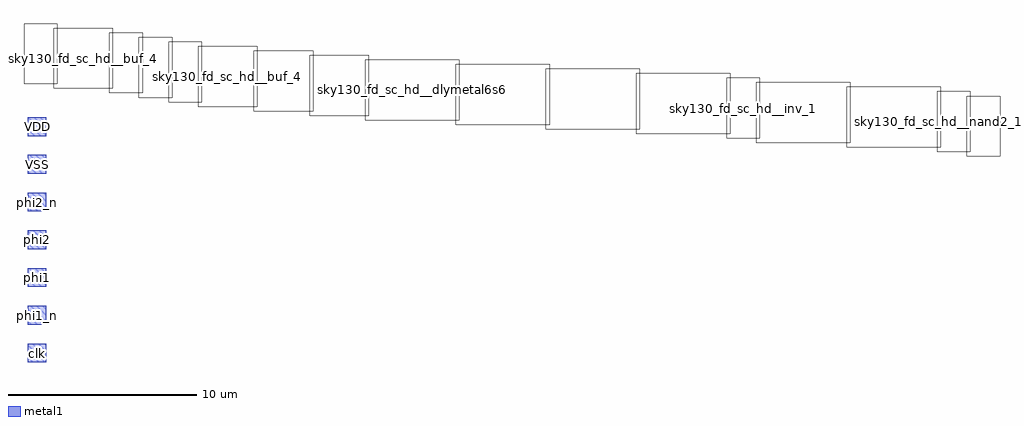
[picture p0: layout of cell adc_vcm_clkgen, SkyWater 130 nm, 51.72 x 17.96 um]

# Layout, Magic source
magic
tech sky130A
<< metal1 >>
rect 0 0 100 100
rect 0 -200 100 -100
rect 0 -400 100 -300
rect 0 -600 100 -500
rect 0 -800 100 -700
rect 0 -1000 100 -900
rect 0 -1200 100 -1100
use sky130_fd_sc_hd__inv_1  x1 $PDKPATH/libs.ref/sky130_fd_sc_hd/mag
transform 1 0 3724 0 1 12
box -19 -24 157 296
use sky130_fd_sc_hd__buf_4  x2 $PDKPATH/libs.ref/sky130_fd_sc_hd/mag
transform 1 0 157 0 1 276
box -19 -24 295 296
use sky130_fd_sc_hd__dlymetal6s6s_1  x3 $PDKPATH/libs.ref/sky130_fd_sc_hd/mag
transform 1 0 1808 0 1 108
box -19 -24 479 296
use sky130_fd_sc_hd__buf_4  x4
transform 1 0 923 0 1 180
box -19 -24 295 296
use sky130_fd_sc_hd__inv_1  x5
transform 1 0 452 0 1 252
box -19 -24 157 296
use sky130_fd_sc_hd__dlymetal6s6s_1  x6
transform 1 0 2766 0 1 60
box -19 -24 479 296
use sky130_fd_sc_hd__buf_4  x7
transform 1 0 1218 0 1 156
box -19 -24 295 296
use sky130_fd_sc_hd__buf_4  x8
transform 1 0 1513 0 1 132
box -19 -24 295 296
use sky130_fd_sc_hd__dlymetal6s6s_1  x9
transform 1 0 3881 0 1 -12
box -19 -24 479 296
use sky130_fd_sc_hd__dlymetal6s6s_1  x10
transform 1 0 2287 0 1 84
box -19 -24 479 296
use sky130_fd_sc_hd__inv_1  x11
transform 1 0 609 0 1 228
box -19 -24 157 296
use sky130_fd_sc_hd__inv_1  x12
transform 1 0 766 0 1 204
box -19 -24 157 296
use sky130_fd_sc_hd__dlymetal6s6s_1  x13
transform 1 0 3245 0 1 36
box -19 -24 479 296
use sky130_fd_sc_hd__dlymetal6s6s_1  x14
transform 1 0 4360 0 1 -36
box -19 -24 479 296
use sky130_fd_sc_hd__nand2_1  x15 $PDKPATH/libs.ref/sky130_fd_sc_hd/mag
transform 1 0 4839 0 1 -60
box -19 -24 157 296
use sky130_fd_sc_hd__nand2_1  x16
transform 1 0 4996 0 1 -84
box -19 -24 157 296
use sky130_fd_sc_hd__inv_1  x23
transform 1 0 0 0 1 300
box -19 -24 157 296
<< labels >>
flabel metal1 0 0 100 100 0 FreeSans 128 0 0 0 VDD
port 0 nsew
flabel metal1 0 -200 100 -100 0 FreeSans 128 0 0 0 VSS
port 1 nsew
flabel metal1 0 -400 100 -300 0 FreeSans 128 0 0 0 phi2_n
port 2 nsew
flabel metal1 0 -600 100 -500 0 FreeSans 128 0 0 0 phi2
port 3 nsew
flabel metal1 0 -800 100 -700 0 FreeSans 128 0 0 0 phi1
port 4 nsew
flabel metal1 0 -1000 100 -900 0 FreeSans 128 0 0 0 phi1_n
port 5 nsew
flabel metal1 0 -1200 100 -1100 0 FreeSans 128 0 0 0 clk
port 6 nsew
<< end >>
